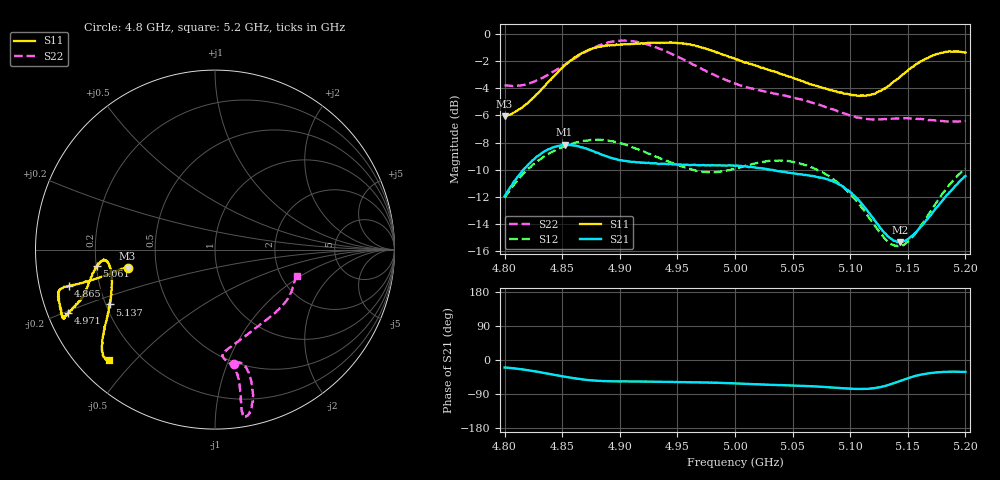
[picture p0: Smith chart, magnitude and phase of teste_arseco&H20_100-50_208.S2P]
! Network Analyzer HP8722D
! Hewlett-Packard
! Data name: Linha & Wilkinson
! Saver's name: Rodrigo Anjos
! Comments: Teste da utilização de aquisição
! continua pelo VNA HP8722D
! Time and date: 6/5/2025 14:18
!  Frequency  S11  S21  S12  S22
# HZ  S  MA R 50
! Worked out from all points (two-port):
!   401 points, 4.8 GHz to 5.2 GHz, reference 50 ohm
!   highest |S21| = -8.16 dB at 4.852 GHz (marker M1); lowest = -15.3 dB at 5.143 GHz (marker M2)
!   |S21| within 3 dB of the highest: 4.806 GHz to 5.092 GHz (286.4 MHz wide, 5.79 % of centre); 5.191546 GHz to end of sweep
!   lowest |S11| = -6.1 dB at 4.8 GHz (marker M3), VSWR 2.98, Z = 16.9 - j4.58 ohm
!   |S11| at or under -10 dB: nowhere
!   |S22| runs from -6.5 to -0.5 dB; largest |S21 - S12| = 0.62
!   S11 on the Smith chart (normalised r, x): 4.8 GHz: 0.34, -0.09; 4.865 GHz: 0.09, -0.12; 4.971 GHz: 0.06, -0.21; 5.061 GHz: 0.20, -0.07; 5.137 GHz: 0.22, -0.23; 5.2 GHz: 0.09, -0.42
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4.8e9  0.4974 -168.2  0.2528 -19.7  0.2493 -141.0  0.648 -80.4
4.823e9  0.571 -167.6  0.3381 -28.3  0.3253 -144.0  0.6611 -76.0
4.852e9  0.7644 -166.0  0.3908 -44.0  0.3861 -149.5  0.7686 -74.7
4.865e9  0.8402 -166.1  0.3849 -50.1  0.4009 -151.9  0.8341 -75.2
4.867e9  0.8494 -166.0  0.3828 -51.0  0.4027 -152.1  0.8439 -75.4
4.899e9  0.9117 -162.9  0.3441 -56.6  0.3977 -156.8  0.943 -79.1
4.934e9  0.9285 -156.6  0.3323 -57.6  0.3504 -155.7  0.8817 -80.5
4.953e9  0.9222 -155.6  0.3309 -58.1  0.3255 -152.1  0.814 -79.9
4.971e9  0.8906 -156.6  0.3286 -59.3  0.3116 -146.6  0.7446 -79.7
5e9  0.8094 -159.1  0.3271 -61.8  0.3197 -137.3  0.6566 -81.4
5.036e9  0.722 -165.8  0.3136 -66.0  0.3414 -134.4  0.6016 -85.7
5.061e9  0.6632 -172.1  0.3032 -68.4  0.3286 -136.4  0.5694 -83.9
5.067e9  0.6499 -173.1  0.3004 -69.2  0.3225 -137.0  0.5583 -82.6
5.082e9  0.6224 -174.8  0.29 -72.1  0.2988 -138.4  0.5322 -77.1
5.1e9  0.5979 -172.2  0.2619 -75.6  0.2579 -138.8  0.5019 -67.3
5.116e9  0.5957 -165.5  0.2203 -76.0  0.2122 -135.6  0.4856 -55.7
5.134e9  0.6462 -154.4  0.178 -65.1  0.1705 -120.7  0.4875 -43.3
5.137e9  0.6614 -152.5  0.1743 -62.2  0.1676 -116.8  0.4881 -41.4
5.143e9  0.6927 -149.3  0.1712 -55.8  0.166 -108.8  0.4886 -38.0
5.154e9  0.7556 -144.6  0.1814 -44.2  0.179 -95.0  0.4883 -32.3
5.174e9  0.84 -138.5  0.2274 -32.9  0.2369 -80.4  0.4797 -24.0
5.2e9  0.8531 -133.7  0.3003 -31.5  0.3196 -77.0  0.4782 -17.6
